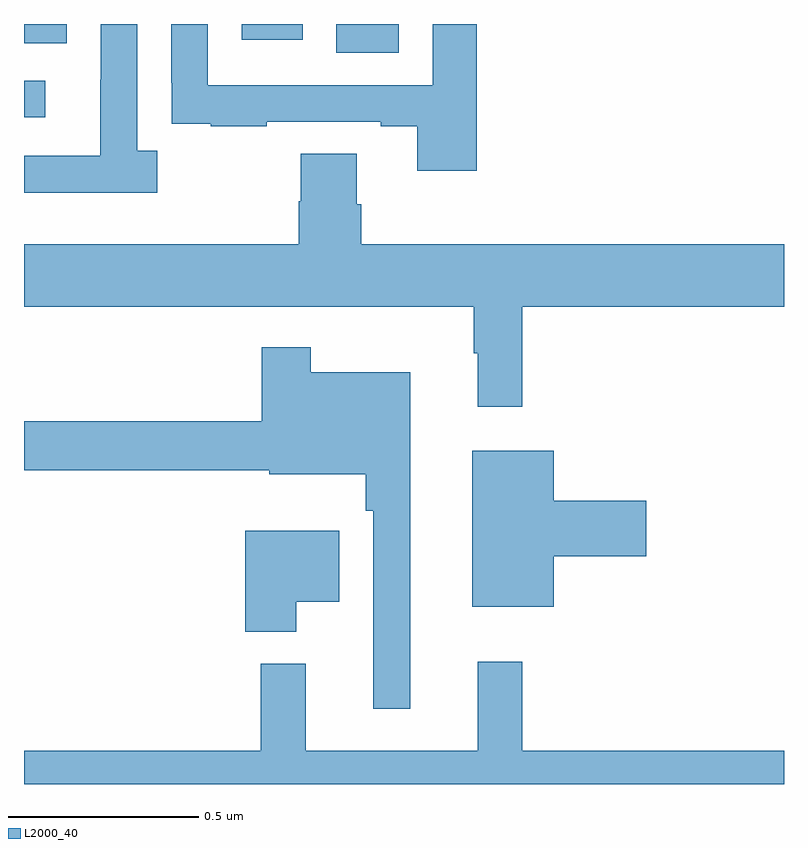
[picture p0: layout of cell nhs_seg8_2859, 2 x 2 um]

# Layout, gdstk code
import gdstk
lib = gdstk.Library(unit=1e-6, precision=1e-09)
def R(c, l, rs):  # rectangles x0, y0, x1, y1
    for r in rs: c.add(gdstk.rectangle(r[:2], r[2:], *l))
def P(c, l, *ps):  # polygons
    for p in ps: c.add(gdstk.Polygon(p, *l))
L2000_40 = (2000, 40)

nhs_seg8_2859 = lib.new_cell('nhs_seg8_2859')
R(nhs_seg8_2859, L2000_40, [(149,1127.655,149.056,1127.751), (149.822,1127.824,149.986,1127.9), (149,1127.849,149.113,1127.9), (149.573,1127.859,149.734,1127.9)])
P(nhs_seg8_2859, L2000_40, [(150.191,1127.9),(150.075,1127.9),(150.075,1127.739),(149.484,1127.739),(149.484,1127.9),(149.388,1127.9),(149.388,1127.746),(149.389,1127.746),(149.389,1127.637),(149.491,1127.637),(149.491,1127.631),(149.639,1127.631),(149.639,1127.643),(149.939,1127.643),(149.939,1127.631),(150.035,1127.631),(150.035,1127.514),(150.191,1127.514)],
  [(149.35,1127.566),(149.298,1127.566),(149.298,1127.9),(149.202,1127.9),(149.202,1127.753),(149.201,1127.753),(149.201,1127.553),(149,1127.553),(149,1127.456),(149.35,1127.456)],
  [(150.311,1127.156),(151,1127.156),(151,1127.32),(149.888,1127.32),(149.888,1127.426),(149.875,1127.426),(149.875,1127.558),(149.728,1127.558),(149.728,1127.433),(149.723,1127.433),(149.723,1127.32),(149,1127.32),(149,1127.156),(150.183,1127.156),(150.183,1127.033),(150.194,1127.033),(150.194,1126.893),(150.311,1126.893)],
  [(150.016,1126.984),(149.755,1126.984),(149.755,1127.05),(149.626,1127.05),(149.626,1126.855),(149,1126.855),(149,1126.726),(149.645,1126.726),(149.645,1126.715),(149.899,1126.715),(149.899,1126.619),(149.919,1126.619),(149.919,1126.098),(150.016,1126.098)],
  [(150.394,1126.499),(150.637,1126.499),(150.637,1126.646),(150.394,1126.646),(150.394,1126.777),(150.179,1126.777),(150.179,1126.367),(150.394,1126.367)],
  [(149.716,1126.379),(149.83,1126.379),(149.83,1126.567),(149.582,1126.567),(149.582,1126.301),(149.716,1126.301)],
  [(151,1125.988),(150.311,1125.988),(150.311,1126.222),(150.194,1126.222),(150.194,1125.988),(149.741,1125.988),(149.741,1126.216),(149.623,1126.216),(149.623,1125.988),(149,1125.988),(149,1125.9),(151,1125.9)])

lib.write_gds('nhs_seg8_2859.gds')
